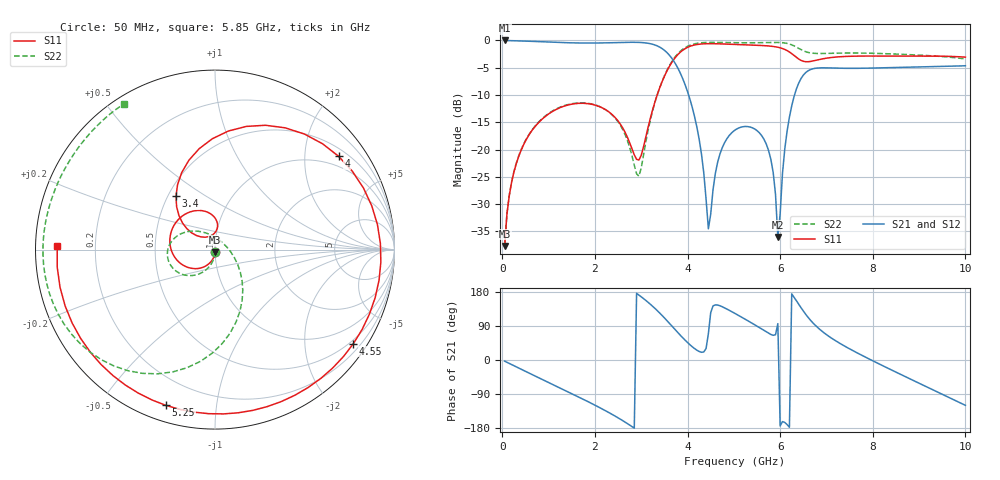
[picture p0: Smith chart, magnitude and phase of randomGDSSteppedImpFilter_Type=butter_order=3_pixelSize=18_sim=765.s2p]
! freq	dB(S11)	phase(S11)	dB(S12)	phase(S12)
!  dB(S21)	phase(S21)	dB(S22)	phase(S22)
!S-par simulation data
#  GHz  S  DB  R 50
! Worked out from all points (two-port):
!   200 points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, 50 MHz to 10 GHz, reference 50 ohm
!   highest |S21| = -0.02 dB at 50 MHz (marker M1); lowest = -36.0 dB at 5.95 GHz (marker M2)
!   |S21| within 3 dB of the highest: start of sweep to 3.637 GHz
!   lowest |S11| = -37.7 dB at 50 MHz (marker M3), VSWR 1.03, Z = 50 - j1.31 ohm
!   |S11| at or under -10 dB: start of sweep to 3.345 GHz
!   |S22| runs from -37.7 to -0.4 dB; largest |S21 - S12| = 0
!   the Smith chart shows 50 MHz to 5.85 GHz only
!   S11 on the Smith chart (normalised r, x): 50 MHz: 1.00, -0.03; 3.4 GHz: 0.55, +0.38; 4 GHz: 0.70, +2.83; 4.55 GHz: 0.40, -3.21; 5.25 GHz: 0.07, -0.73; 5.85 GHz: 0.06, +0.01
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0.05  -37.68 -87.1  -0.02 -3.1  -0.02 -3.1  -37.71 -85.4
0.2  -26.05 -101.5  -0.05 -12.0  -0.05 -12.0  -25.96 -97.1
0.5  -18.45 -124.4  -0.13 -29.9  -0.13 -29.9  -18.37 -113.3
1.75  -11.53 145.5  -0.49 -103.7  -0.49 -103.7  -11.46 -172.8
2.95  -21.93 115.9  -0.37 171.4  -0.37 171.4  -24.88 41.2
3.4  -8.67 126.2  -1.24 123.9  -1.24 123.9  -8.64 -67.9
3.75  -3.00 75.8  -4.45 77.8  -4.45 77.8  -2.84 -109.1
4  -1.28 37.1  -9.39 46.1  -9.39 46.1  -1.09 -135.9
4.3  -0.66 -4.3  -20.77 20.3  -20.77 20.3  -0.44 -161.5
4.45  -0.61 -22.6  -34.52 69.4  -34.52 69.4  -0.37 -171.8
4.55  -0.61 -34.2  -27.40 142.7  -27.40 142.7  -0.37 -178.0
5.05  -0.76 -87.0  -16.30 121.1  -16.30 121.1  -0.43 156.7
5.25  -0.82 -107.5  -15.78 107.3  -15.78 107.3  -0.45 147.9
5.85  -1.12 178.6  -24.24 65.2  -24.24 65.2  -0.38 121.9
5.95  -1.26 161.1  -36.04 95.8  -36.04 95.8  -0.38 117.0
6.25  -2.43 85.3  -12.00 174.5  -12.00 174.5  -0.82 101.1
6.45  -3.67 12.7  -7.01 138.1  -7.01 138.1  -1.69 92.9
6.7  -3.79 -67.1  -5.22 98.9  -5.22 98.9  -2.36 88.0
7.35  -2.97 -167.3  -5.11 39.6  -5.11 39.6  -2.31 69.2
8.35  -2.88 105.4  -5.00 -23.1  -5.00 -23.1  -2.46 31.0
9.25  -2.88 38.4  -4.82 -75.8  -4.82 -75.8  -2.82 -7.6
10  -3.08 -12.4  -4.65 -119.6  -4.65 -119.6  -3.40 -43.7
